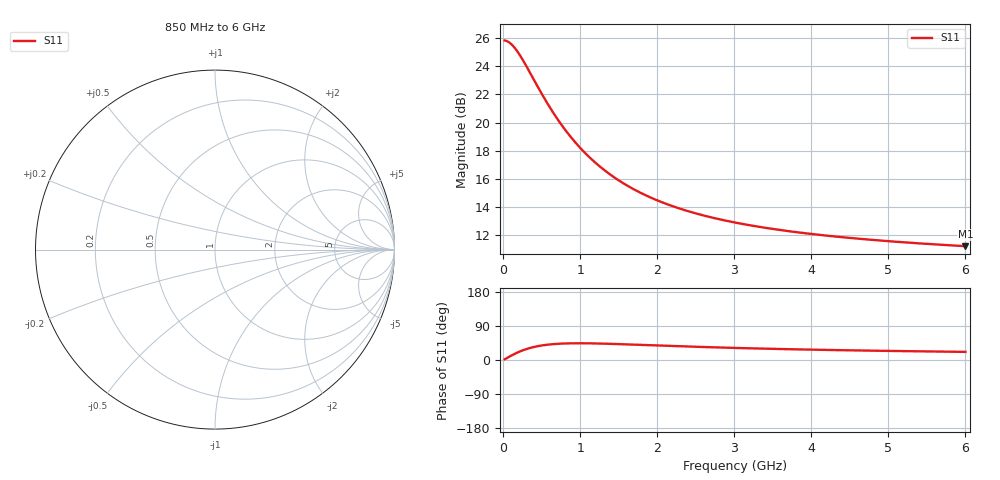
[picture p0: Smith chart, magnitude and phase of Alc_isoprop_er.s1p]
! NanoVNA-UTN-Toolkit permittivity export -- NOT S-parameters
! ES: Permitividad relativa compleja de la muestra. NO es S11: se guarda en
! ES: formato Touchstone solo para poder graficarla con visores de .s1p.
! EN: Complex relative permittivity of the sample. NOT S11: the Touchstone
! EN: format is used only so that .s1p viewers can plot it.
! Columns / Columnas: f (Hz) | eps' | eps'' (loss >= 0); eps_r = eps' - j*eps''
! Sample / Muestra: Alc_isoprop
! Technique / Tecnica: Open-ended coaxial probe (liquids)
! References / Referencias: water + ipa
! Probe / Sonda: 3 mm probe (C0 0.019 pF)
! Temperature / Temperatura: 23.0 °C
! Reliable from 45 MHz: points below are not reliable / Confiable desde 45 MHz: los puntos inferiores no son confiables
! Spike removal replaced 1 isolated S11 point(s) before solving / La remocion de picos reemplazo 1 punto(s) aislado(s) de S11
! 2 point(s) without a solution omitted / 2 punto(s) sin solucion omitidos
! Exported / Exportado: 2026-10-24T12:58:41
# Hz S RI R 50
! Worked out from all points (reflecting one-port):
!   1198 points, 15 MHz to 6 GHz, reference 50 ohm
!   lowest |S11| = 11.2 dB at 6 GHz (marker M1)
!   phase of S11 starts at 2 deg and turns +20 deg over the sweep
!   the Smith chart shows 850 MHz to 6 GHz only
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1.5e7  19.6 0.6033
3.5e7  19.5 1.399
8.5e7  18.92 3.27
1.25e8  18.18 4.573
1.65e8  17.27 5.654
1.95e8  16.53 6.311
2.3e8  15.63 6.919
2.6e8  14.86 7.314
2.95e8  13.98 7.645
3.4e8  12.91 7.901
3.9e8  11.84 8.011
4.5e8  10.71 7.972
5.1e8  9.742 7.813
5.7e8  8.928 7.582
6.3e8  8.243 7.313
6.95e8  7.622 7.005
7.65e8  7.07 6.67
9.1e8  6.21 6.016
1.075e9  5.547 5.369
1.275e9  5.016 4.726
1.515e9  4.604 4.12
1.86e9  4.244 3.478
2.26e9  3.996 2.952
3.01e9  3.741 2.322
3.76e9  3.597 1.934
4.505e9  3.502 1.67
5.255e9  3.431 1.475
6e9  3.377 1.326
